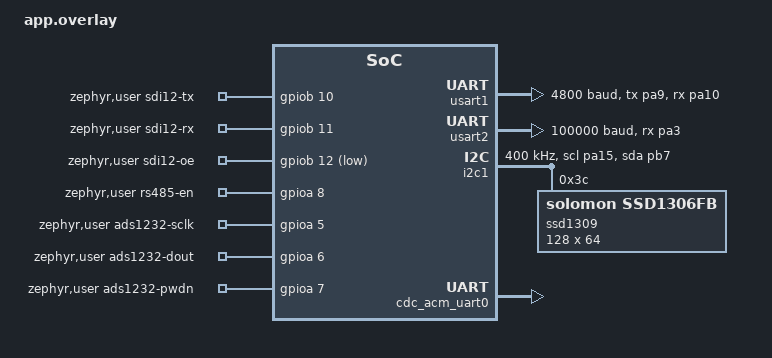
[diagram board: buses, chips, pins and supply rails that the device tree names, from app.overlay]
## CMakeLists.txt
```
# Copyright (c) 2026
# SPDX-License-Identifier: Apache-2.0

cmake_minimum_required(VERSION 3.20.0)

find_package(Zephyr REQUIRED HINTS $ENV{ZEPHYR_BASE})
project(dajilog_tech_V0_1)

target_sources(app PRIVATE src/main.c)
```

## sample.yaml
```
sample:
  name: dajilog_tech_V0.1 bring-up test
tests:
  app.dajilog_tech_test:
    platform_allow: dajilog_tech
    tags:
      - gpio
      - usb
      - can
```

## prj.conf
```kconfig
CONFIG_GPIO=y

CONFIG_DAJILOG_COMPONENT_ADS1232=y
CONFIG_DAJILOG_COMPONENT_OLED_DISPLAY=y
CONFIG_DAJILOG_OLED_SCAN_I2C_ON_INIT=n
CONFIG_DAJILOG_OLED_SCAN_PERIOD_MS=0
CONFIG_DAJILOG_COMPONENT_RS485_MODBUS=y
CONFIG_DAJILOG_COMPONENT_CAN_BUS=y
CONFIG_DAJILOG_COMPONENT_SBUS=y
CONFIG_DAJILOG_COMPONENT_SDI12_SLAVE=y

CONFIG_LOG=y
CONFIG_LOG_PRINTK=y

CONFIG_SERIAL=y
CONFIG_CONSOLE=y
CONFIG_UART_CONSOLE=y
CONFIG_UART_LINE_CTRL=y

CONFIG_USB_DEVICE_STACK=y
CONFIG_USB_CDC_ACM=y
CONFIG_USB_DEVICE_INITIALIZE_AT_BOOT=n
CONFIG_USB_DEVICE_PRODUCT="dajilog_tech_V0.1"
CONFIG_USB_DEVICE_PID=0x0004

CONFIG_CAN=y
CONFIG_CAN_FD_MODE=n
CONFIG_CAN_DEFAULT_BITRATE=500000

CONFIG_I2C=y
CONFIG_DISPLAY=y
CONFIG_SSD1306=y
CONFIG_CHARACTER_FRAMEBUFFER=y
CONFIG_CHARACTER_FRAMEBUFFER_USE_DEFAULT_FONTS=y
CONFIG_HEAP_MEM_POOL_SIZE=2048
```

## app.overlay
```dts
/ {
	chosen {
		zephyr,console = &cdc_acm_uart0;
		zephyr,shell-uart = &cdc_acm_uart0;
		zephyr,display = &ssd1309;
	};

	zephyr,user {
		sdi12-tx-gpios = <&gpiob 10 GPIO_ACTIVE_HIGH>;
		sdi12-rx-gpios = <&gpiob 11 GPIO_ACTIVE_HIGH>;
		sdi12-oe-gpios = <&gpiob 12 GPIO_ACTIVE_LOW>;
		rs485-en-gpios = <&gpioa 8 GPIO_ACTIVE_HIGH>;
		ads1232-sclk-gpios = <&gpioa 5 GPIO_ACTIVE_HIGH>;
		ads1232-dout-gpios = <&gpioa 6 GPIO_ACTIVE_HIGH>;
		ads1232-pwdn-gpios = <&gpioa 7 GPIO_ACTIVE_HIGH>;
	};
};

&usart1 {
	pinctrl-0 = <&usart1_tx_pa9 &usart1_rx_pa10>;
	pinctrl-names = "default";
	current-speed = <4800>;
	status = "okay";
};

&usart2 {
	pinctrl-0 = <&usart2_rx_pa3>;
	pinctrl-names = "default";
	current-speed = <100000>;
	status = "okay";
};

&i2c1 {
	pinctrl-0 = <&i2c1_scl_pa15 &i2c1_sda_pb7>;
	pinctrl-names = "default";
	clock-frequency = <400000>;
	status = "okay";

	ssd1309: ssd1309@3c {
		compatible = "solomon,ssd1306fb";
		reg = <0x3c>;
		width = <128>;
		height = <64>;
		segment-offset = <0>;
		page-offset = <0>;
		display-offset = <0>;
		multiplex-ratio = <63>;
		segment-remap;
		com-invdir;
		prechargep = <0x22>;
	};
};

&zephyr_udc0 {
	cdc_acm_uart0: cdc_acm_uart0 {
		compatible = "zephyr,cdc-acm-uart";
	};
};
```

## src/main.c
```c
/*
 * Copyright (c) 2026
 * SPDX-License-Identifier: Apache-2.0
 */

#include <zephyr/device.h>
#include <zephyr/devicetree.h>
#include <zephyr/drivers/uart.h>
#include <zephyr/kernel.h>
#include <zephyr/sys/printk.h>
#include <zephyr/usb/usb_device.h>

#include <ads1232/ads1232.h>
#include <can_bus/can_bus.h>
#include <display_oled/display_oled.h>
#include <rs485_modbus/rs485_modbus.h>
#include <sbus/sbus.h>
#include <sdi12_slave/sdi12_slave.h>

#define USER_NODE DT_PATH(zephyr_user)
#define I2C1_NODE DT_NODELABEL(i2c1)
#define RS485_UART_NODE DT_NODELABEL(usart1)
#define SBUS_UART_NODE DT_NODELABEL(usart2)

#define ADS1232_READ_PERIOD_MS CONFIG_DAJILOG_ADS1232_READ_PERIOD_MS
#define USB_ENABLE_RETRY_COUNT 3
#define USB_START_DELAY_MS 2000
#define USB_DTR_WAIT_MS 3000

static const struct device *const console_dev =
	DEVICE_DT_GET(DT_CHOSEN(zephyr_console));

static struct ads1232 loadcell_adc = {
	.config = {
		.sclk = GPIO_DT_SPEC_GET(USER_NODE, ads1232_sclk_gpios),
		.dout = GPIO_DT_SPEC_GET(USER_NODE, ads1232_dout_gpios),
		.pwdn = GPIO_DT_SPEC_GET(USER_NODE, ads1232_pwdn_gpios),
		.drdy_timeout_ms = CONFIG_DAJILOG_ADS1232_DRDY_TIMEOUT_MS,
		.startup_delay_ms = CONFIG_DAJILOG_ADS1232_STARTUP_DELAY_MS,
		.sclk_half_period_us = CONFIG_DAJILOG_ADS1232_SCLK_HALF_PERIOD_US,
	},
};

static struct oled_display oled = {
	.config = {
		.display = DEVICE_DT_GET(DT_CHOSEN(zephyr_display)),
		.i2c = DEVICE_DT_GET(I2C1_NODE),
		.i2c_speed_hz = CONFIG_DAJILOG_OLED_I2C_SPEED_HZ,
		.scan_i2c_on_init = IS_ENABLED(CONFIG_DAJILOG_OLED_SCAN_I2C_ON_INIT),
	},
};

static struct rs485_modbus rs485_sensor = {
	.config = {
		.uart = DEVICE_DT_GET(RS485_UART_NODE),
		.de = GPIO_DT_SPEC_GET(USER_NODE, rs485_en_gpios),
		.default_slave_addr = CONFIG_DAJILOG_RS485_MODBUS_SENSOR_ADDR,
		.default_start_reg = CONFIG_DAJILOG_RS485_MODBUS_START_REG,
		.default_reg_count = CONFIG_DAJILOG_RS485_MODBUS_REG_COUNT,
		.response_timeout_ms = CONFIG_DAJILOG_RS485_MODBUS_RESPONSE_TIMEOUT_MS,
		.tx_turnaround_us = CONFIG_DAJILOG_RS485_MODBUS_TX_TURNAROUND_US,
	},
};

static struct can_bus can1 = {
	.config = {
		.dev = DEVICE_DT_GET(DT_CHOSEN(zephyr_canbus)),
		.default_tx_id = CONFIG_DAJILOG_CAN_TX_TEST_ID,
	},
};

static struct sbus sbus_rx = {
	.config = {
		.uart = DEVICE_DT_GET(SBUS_UART_NODE),
		.baudrate = 100000,
		.inverted_by_hardware = true,
	},
};

static struct sdi12_slave sdi12 = {
	.config = {
		.tx = GPIO_DT_SPEC_GET(USER_NODE, sdi12_tx_gpios),
		.rx = GPIO_DT_SPEC_GET(USER_NODE, sdi12_rx_gpios),
		.oe = GPIO_DT_SPEC_GET(USER_NODE, sdi12_oe_gpios),
		.rx_inverted = IS_ENABLED(CONFIG_DAJILOG_SDI12_RX_INVERTED),
	},
};

static void start_usb_cdc_console(void)
{
	uint32_t dtr = 0;
	int ret = -EIO;

	k_sleep(K_MSEC(USB_START_DELAY_MS));

	if (!IS_ENABLED(CONFIG_USB_DEVICE_INITIALIZE_AT_BOOT)) {
		for (int i = 0; i < USB_ENABLE_RETRY_COUNT; i++) {
			ret = usb_enable(NULL);
			if (ret == 0) {
				break;
			}
			k_sleep(K_MSEC(200));
		}

		if (ret != 0) {
			return;
		}
	}

	for (int elapsed_ms = 0; elapsed_ms < USB_DTR_WAIT_MS; elapsed_ms += 100) {
		(void)uart_line_ctrl_get(console_dev, UART_LINE_CTRL_DTR, &dtr);
		if (dtr != 0) {
			break;
		}
		k_sleep(K_MSEC(100));
	}
}

static void oled_show_ads1232_values(void)
{
	struct ads1232_state ads_state;
	struct oled_ads1232_view view = {0};

	ads1232_state_get(&loadcell_adc, &ads_state);

	view.value_valid = ads_state.value_valid;
	view.latest_raw = ads_state.latest_raw;
	view.sample_count = ads_state.sample_count;
	if (ads_state.value_valid && ads_state.sample_count > 0) {
		view.avg_raw = (int32_t)(ads_state.sum_raw / ads_state.sample_count);
		view.p2p_raw = ads_state.max_raw - ads_state.min_raw;
	}

	int ret = oled_display_show_ads1232(&oled, &view);

	if (ret != 0) {
		printk("ADS1232 OLED update failed ret=%d\r\n", ret);
	}
}

static void init_component_threads(void)
{
	int ret;

	ret = rs485_modbus_init(&rs485_sensor);
	if (ret == 0) {
		ret = rs485_modbus_start(&rs485_sensor);
	}
	printk("RS-485 Modbus component start ret=%d\r\n", ret);

	ret = can_bus_init(&can1);
	if (ret == 0) {
		ret = can_bus_start(&can1);
	}
	printk("CAN component start ret=%d\r\n", ret);

	ret = sbus_init(&sbus_rx);
	if (ret == 0) {
		ret = sbus_start(&sbus_rx);
	}
	printk("SBUS component start ret=%d\r\n", ret);

	ret = sdi12_slave_init(&sdi12);
	if (ret == 0) {
		ret = sdi12_slave_start(&sdi12);
	}
	printk("SDI-12 component start ret=%d\r\n", ret);
}

static void log_component_states(void)
{
	struct rs485_modbus_state rs485_state;
	struct can_bus_state can_state;
	struct sbus_state sbus_state;
	struct sdi12_slave_state sdi12_state;

	rs485_modbus_state_get(&rs485_sensor, &rs485_state);
	can_bus_state_get(&can1, &can_state);
	sbus_state_get(&sbus_rx, &sbus_state);
	sdi12_slave_state_get(&sdi12, &sdi12_state);

	if (rs485_state.value_valid) {
		printk("RS485 req=%lu rsp=%lu reg0=%u reg1=%u err=%d\r\n",
		       (unsigned long)rs485_state.request_count,
		       (unsigned long)rs485_state.response_count,
		       rs485_state.regs[0], rs485_state.regs[1],
		       rs485_state.last_error);
	}

	printk("CAN state=%s rx=%lu tx=%lu txerr=%lu filter=%d\r\n",
	       can_bus_state_name(can_state.bus_state),
	       (unsigned long)can_state.rx_count,
	       (unsigned long)can_state.tx_count,
	       (unsigned long)can_state.tx_error_count, can_state.rx_filter_id);

	if (sbus_state.frame_valid) {
		printk("SBUS frames=%lu ch1=%u ch2=%u ch3=%u ch4=%u flags=0x%02x\r\n",
		       (unsigned long)sbus_state.frame_count, sbus_state.channels[0],
		       sbus_state.channels[1], sbus_state.channels[2],
		       sbus_state.channels[3], sbus_state.flags);
	}

	printk("SDI12 rx=%d irq=%lu break=%lu timeout=%lu rxerr=%lu cmd=%lu last=%s\r\n",
	       sdi12_state.rx_logical, (unsigned long)sdi12_state.irq_count,
	       (unsigned long)sdi12_state.break_mark_count,
	       (unsigned long)sdi12_state.timeout_count,
	       (unsigned long)sdi12_state.rx_error_count,
	       (unsigned long)sdi12_state.command_count,
	       sdi12_state.latest_command[0] != '\0' ? sdi12_state.latest_command :
						       "-");
}

int main(void)
{
	struct ads1232_state ads_state;
	int64_t next_rs485_poll_ms = 0;
	int64_t next_can_tx_ms = 0;
	int64_t next_i2c_scan_ms = 0;
	int32_t raw;
	int ret;

	start_usb_cdc_console();

	printk("dajilog_tech_V0.1 component bring-up\r\n");
	printk("USB CDC console is ready\r\n");
	printk("Components: ADS1232, OLED, RS485, CAN, SBUS, SDI-12\r\n");

	k_sleep(K_MSEC(5));
	ret = ads1232_init(&loadcell_adc);
	if (ret != 0) {
		printk("ADS1232 init failed ret=%d\r\n", ret);
	} else {
		printk("ADS1232 ready: 6-wire loadcell ch=1 gain=128 rate=10SPS "
		       "SCLK=PA5 DOUT/DRDY=PA6 PWDN=PA7\r\n");
	}

	ret = oled_display_init(&oled);
	printk("ADS1232 OLED init ret=%d\r\n", ret);
	if (ret == 0) {
		oled_show_ads1232_values();
	}
	init_component_threads();

	next_rs485_poll_ms = k_uptime_get();
	next_can_tx_ms = k_uptime_get() + CONFIG_DAJILOG_CAN_TX_PERIOD_MS;
	if (CONFIG_DAJILOG_OLED_SCAN_PERIOD_MS > 0) {
		next_i2c_scan_ms = k_uptime_get() + CONFIG_DAJILOG_OLED_SCAN_PERIOD_MS;
	}

	while (1) {
		if (next_i2c_scan_ms > 0 && k_uptime_get() >= next_i2c_scan_ms) {
			ret = oled_display_scan_i2c(&oled);
			if (ret != 0) {
				printk("OLED I2C periodic scan failed ret=%d\r\n", ret);
			}
			next_i2c_scan_ms += CONFIG_DAJILOG_OLED_SCAN_PERIOD_MS;
		}

		if (k_uptime_get() >= next_rs485_poll_ms) {
			ret = rs485_modbus_request_read(&rs485_sensor);
			if (ret != 0) {
				printk("RS-485 Modbus request enqueue failed ret=%d\r\n",
				       ret);
			}
			next_rs485_poll_ms += CONFIG_DAJILOG_RS485_MODBUS_POLL_PERIOD_MS;
		}

		if (k_uptime_get() >= next_can_tx_ms) {
			ret = can_bus_send_test(&can1);
			if (ret != 0) {
				printk("CAN TX enqueue failed ret=%d\r\n", ret);
			}
			next_can_tx_ms += CONFIG_DAJILOG_CAN_TX_PERIOD_MS;
		}

		ret = ads1232_sample(&loadcell_adc, &raw);
		if (ret == 0) {
			ads1232_state_get(&loadcell_adc, &ads_state);
			printk("ADS1232 raw=%ld hex=0x%06lx\r\n", (long)raw,
			       (unsigned long)(raw & 0x00ffffff));
			printk("ADS1232 stats samples=%lu min=%ld max=%ld p2p=%ld avg=%ld\r\n",
			       (unsigned long)ads_state.sample_count,
			       (long)ads_state.min_raw, (long)ads_state.max_raw,
			       (long)(ads_state.max_raw - ads_state.min_raw),
			       (long)(ads_state.sum_raw / ads_state.sample_count));
			if (oled.state.ready) {
				oled_show_ads1232_values();
			}
			log_component_states();
		} else {
			printk("ADS1232 read failed ret=%d\r\n", ret);
		}

		k_sleep(K_MSEC(ADS1232_READ_PERIOD_MS));
	}
}
```
